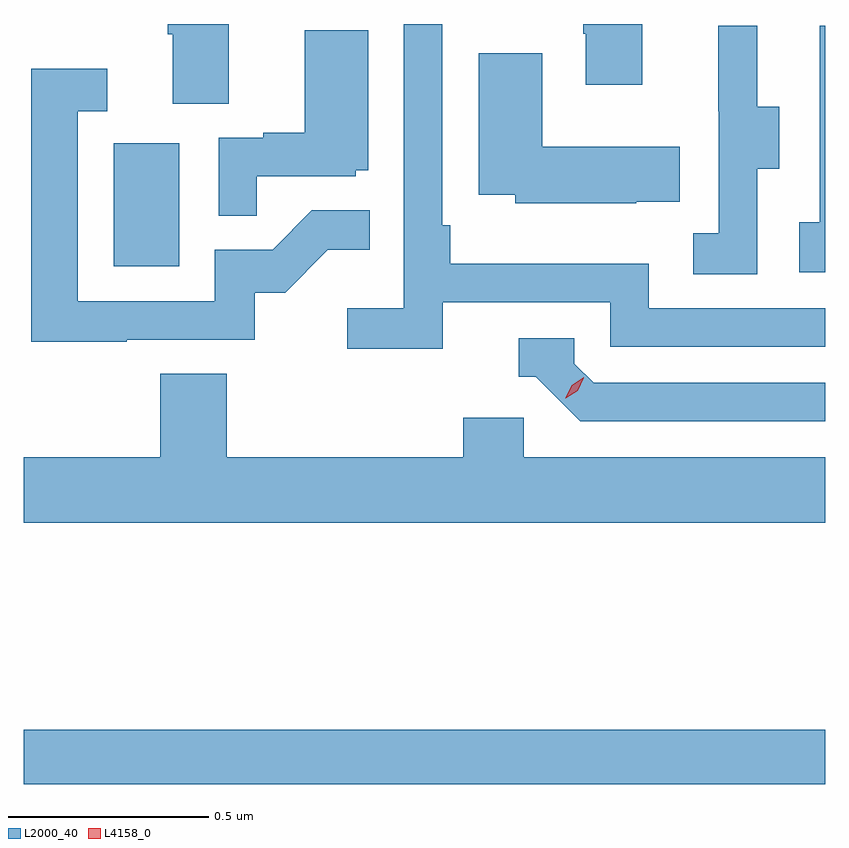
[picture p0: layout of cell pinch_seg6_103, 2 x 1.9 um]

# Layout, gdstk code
import gdstk
lib = gdstk.Library(unit=1e-6, precision=1e-09)
def R(c, l, rs):  # rectangles x0, y0, x1, y1
    for r in rs: c.add(gdstk.rectangle(r[:2], r[2:], *l))
def P(c, l, *ps):  # polygons
    for p in ps: c.add(gdstk.Polygon(p, *l))
L2000_40 = (2000, 40)
L4158_0 = (4158, 0)

pinch_seg6_103 = lib.new_cell('pinch_seg6_103')
R(pinch_seg6_103, L2000_40, [(900.36,918.712,902.36,918.848), (900.584,920.004,900.748,920.311)])
P(pinch_seg6_103, L2000_40, [(900.871,920.609),(900.719,920.609),(900.719,920.584),(900.731,920.584),(900.731,920.41),(900.871,920.41)],
  [(901.903,920.609),(901.756,920.609),(901.756,920.585),(901.763,920.585),(901.763,920.457),(901.903,920.457)],
  [(901.406,919.914),(901.824,919.914),(901.824,919.803),(902.36,919.803),(902.36,919.899),(901.92,919.899),(901.92,920.011),(901.424,920.011),(901.424,920.107),(901.404,920.107),(901.404,920.608),(901.308,920.608),(901.308,919.9),(901.167,919.9),(901.167,919.798),(901.406,919.798)],
  [(902.36,920.605),(902.346,920.605),(902.346,920.114),(902.295,920.114),(902.295,919.989),(902.36,919.989)],
  [(902.19,920.248),(902.245,920.248),(902.245,920.403),(902.191,920.403),(902.191,920.605),(902.093,920.605),(902.093,920.391),(902.094,920.391),(902.094,920.087),(902.031,920.087),(902.031,919.984),(902.19,919.984)],
  [(900.941,920.229),(901.188,920.229),(901.188,920.244),(901.219,920.244),(901.219,920.593),(901.061,920.593),(901.061,920.338),(900.957,920.338),(900.957,920.325),(900.846,920.325),(900.846,920.131),(900.941,920.131)],
  [(901.889,920.165),(901.997,920.165),(901.997,920.302),(901.654,920.302),(901.654,920.536),(901.496,920.536),(901.496,920.183),(901.587,920.183),(901.587,920.162),(901.889,920.162)],
  [(900.617,919.821),(900.936,919.821),(900.936,919.938),(901.012,919.938),(901.119,920.045),(901.223,920.045),(901.223,920.144),(901.079,920.144),(900.981,920.046),(900.837,920.046),(900.837,919.917),(900.495,919.917),(900.495,920.391),(900.568,920.391),(900.568,920.497),(900.379,920.497),(900.379,919.816),(900.617,919.816)],
  [(902.36,919.713),(901.782,919.713),(901.734,919.761),(901.734,919.824),(901.595,919.824),(901.595,919.728),(901.638,919.728),(901.749,919.617),(902.36,919.617)],
  [(902.36,919.528),(901.608,919.528),(901.608,919.626),(901.457,919.626),(901.457,919.528),(900.866,919.528),(900.866,919.736),(900.701,919.736),(900.701,919.528),(900.36,919.528),(900.36,919.364),(902.36,919.364)])
P(pinch_seg6_103, L4158_0, [(901.711,919.675),(901.711,919.675),(901.727,919.707),(901.758,919.727),(901.758,919.727),(901.758,919.726),(901.742,919.694),(901.712,919.675)])

lib.write_gds('pinch_seg6_103.gds')
